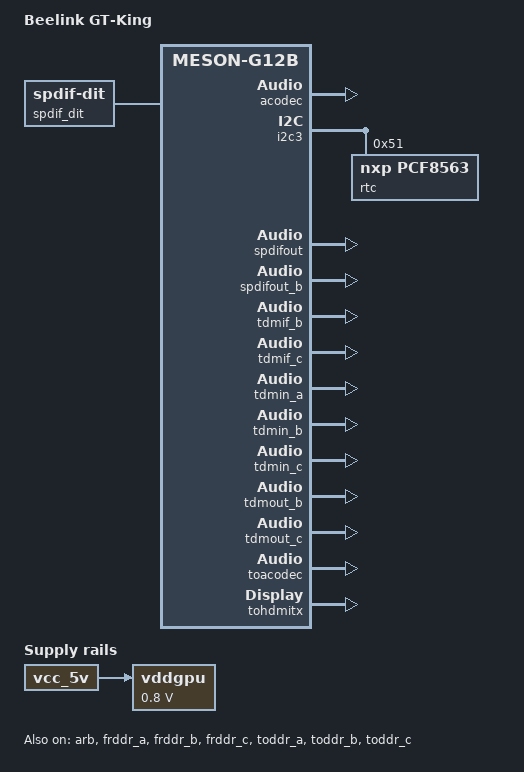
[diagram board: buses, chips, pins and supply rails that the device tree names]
// SPDX-License-Identifier: (GPL-2.0+ OR MIT)
/*
 * Copyright (c) 2019 BayLibre, SAS
 * Author: Neil Armstrong <narmstrong@baylibre.com>
 * Copyright (c) 2019 Christian Hewitt <christianshewitt@gmail.com>
 */

/dts-v1/;

#include "meson-g12b-w400.dtsi"
#include <dt-bindings/sound/meson-g12a-toacodec.h>
#include <dt-bindings/sound/meson-g12a-tohdmitx.h>

/ {
	compatible = "azw,gtking", "amlogic,s922x", "amlogic,g12b";
	model = "Beelink GT-King";

	aliases {
		rtc0 = &rtc;
		rtc1 = &vrtc;
	};

	spdif_dit: audio-codec-1 {
		#sound-dai-cells = <0>;
		compatible = "linux,spdif-dit";
		status = "okay";
		sound-name-prefix = "DIT";
	};

	sound {
		compatible = "amlogic,axg-sound-card";
		model = "GTKING";
		audio-widgets = "Line", "Lineout";
		audio-aux-devs = <&tdmout_b>, <&tdmout_c>,
				 <&tdmin_a>, <&tdmin_b>, <&tdmin_c>;
		audio-routing = "TDMOUT_B IN 0", "FRDDR_A OUT 1",
				"TDMOUT_B IN 1", "FRDDR_B OUT 1",
				"TDMOUT_B IN 2", "FRDDR_C OUT 1",
				"TDM_B Playback", "TDMOUT_B OUT",
				"TDMOUT_C IN 0", "FRDDR_A OUT 2",
				"TDMOUT_C IN 1", "FRDDR_B OUT 2",
				"TDMOUT_C IN 2", "FRDDR_C OUT 2",
				"TDM_C Playback", "TDMOUT_C OUT",
				"TDMIN_A IN 4", "TDM_B Loopback",
				"TDMIN_B IN 4", "TDM_B Loopback",
				"TDMIN_C IN 4", "TDM_B Loopback",
				"TDMIN_A IN 5", "TDM_C Loopback",
				"TDMIN_B IN 5", "TDM_C Loopback",
				"TDMIN_C IN 5", "TDM_C Loopback",
				"TODDR_A IN 0", "TDMIN_A OUT",
				"TODDR_B IN 0", "TDMIN_A OUT",
				"TODDR_C IN 0", "TDMIN_A OUT",
				"TODDR_A IN 1", "TDMIN_B OUT",
				"TODDR_B IN 1", "TDMIN_B OUT",
				"TODDR_C IN 1", "TDMIN_B OUT",
				"TODDR_A IN 2", "TDMIN_C OUT",
				"TODDR_B IN 2", "TDMIN_C OUT",
				"TODDR_C IN 2", "TDMIN_C OUT",
				"SPDIFOUT IN 0", "FRDDR_A OUT 3",
				"SPDIFOUT IN 1", "FRDDR_B OUT 3",
				"SPDIFOUT IN 2", "FRDDR_C OUT 3",
				"Lineout", "ACODEC LOLP",
				"Lineout", "ACODEC LORP";

		assigned-clocks = <&clkc CLKID_MPLL2>,
				  <&clkc CLKID_MPLL0>,
				  <&clkc CLKID_MPLL1>;
		assigned-clock-parents = <0>, <0>, <0>;
		assigned-clock-rates = <294912000>,
				       <270950400>,
				       <393216000>;
		status = "okay";

		dai-link-0 {
			sound-dai = <&frddr_a>;
		};

		dai-link-1 {
			sound-dai = <&frddr_b>;
		};

		dai-link-2 {
			sound-dai = <&frddr_c>;
		};

		dai-link-3 {
			sound-dai = <&toddr_a>;
		};

		dai-link-4 {
			sound-dai = <&toddr_b>;
		};

		dai-link-5 {
			sound-dai = <&toddr_c>;
		};

		/* 8ch hdmi interface */
		dai-link-6 {
			sound-dai = <&tdmif_b>;
			dai-format = "i2s";
			dai-tdm-slot-tx-mask-0 = <1 1>;
			dai-tdm-slot-tx-mask-1 = <1 1>;
			dai-tdm-slot-tx-mask-2 = <1 1>;
			dai-tdm-slot-tx-mask-3 = <1 1>;
			mclk-fs = <256>;

			codec-0 {
				sound-dai = <&tohdmitx TOHDMITX_I2S_IN_B>;
			};

			codec-1 {
				sound-dai = <&toacodec TOACODEC_IN_B>;
			};
		};

		/* spdif hdmi or toslink interface */
		dai-link-7 {
			sound-dai = <&spdifout>;

			codec-0 {
				sound-dai = <&spdif_dit>;
			};

			codec-1 {
				sound-dai = <&tohdmitx TOHDMITX_SPDIF_IN_A>;
			};
		};

		/* spdif hdmi interface */
		dai-link-8 {
			sound-dai = <&spdifout_b>;

			codec {
				sound-dai = <&tohdmitx TOHDMITX_SPDIF_IN_B>;
			};
		};

		/* i2s jack output interface */
		dai-link-9 {
			sound-dai = <&tdmif_c>;
			dai-format = "i2s";
			dai-tdm-slot-tx-mask-0 = <1 1>;
			mclk-fs = <256>;

			codec-0 {
				sound-dai = <&tohdmitx TOHDMITX_I2S_IN_C>;
			};

			codec-1 {
				sound-dai = <&toacodec TOACODEC_IN_C>;
			};
		};

		/* hdmi glue */
		dai-link-10 {
			sound-dai = <&tohdmitx TOHDMITX_I2S_OUT>;

			codec {
				sound-dai = <&hdmi_tx>;
			};
		};

		/* acodec glue */
		dai-link-11 {
			sound-dai = <&toacodec TOACODEC_OUT>;

			codec {
				sound-dai = <&acodec>;
			};
		};
	};

        vddgpu: regulator-vddgpu {
                compatible = "regulator-fixed";
                regulator-name = "mali";
                regulator-min-microvolt = <800000>;
                regulator-max-microvolt = <800000>;
                vin-supply = <&vcc_5v>;
                regulator-boot-on;
                regulator-always-on;
        };
};

&mali {
        mali-supply=<&vddgpu>;
};

&acodec {
	AVDD-supply = <&vddao_1v8>;
	status = "okay";
};

&arb {
	status = "okay";
};

&clkc_audio {
	status = "okay";
};

&frddr_a {
	status = "okay";
};

&frddr_b {
	status = "okay";
};

&frddr_c {
	status = "okay";
};


&i2c3 {
	status = "okay";
	pinctrl-0 = <&i2c3_sda_a_pins>, <&i2c3_sck_a_pins>;
	pinctrl-names = "default";

	rtc: rtc@51 {
		compatible = "nxp,pcf8563";
		reg = <0x51>;
		wakeup-source;
	};
};

&spdifout {
	pinctrl-0 = <&spdif_out_h_pins>;
	pinctrl-names = "default";
	status = "okay";
};

&spdifout_b {
	status = "okay";
};

&tdmif_b {
	status = "okay";
};

&tdmif_c {
	status = "okay";
};

&tdmin_a {
	status = "okay";
};

&tdmin_b {
	status = "okay";
};

&tdmin_c {
	status = "okay";
};

&tdmout_b {
	status = "okay";
};

&tdmout_c {
	status = "okay";
};

&toacodec {
	status = "okay";
};

&toddr_a {
	status = "okay";
};

&toddr_b {
	status = "okay";
};

&toddr_c {
	status = "okay";
};

&tohdmitx {
	status = "okay";
};

/* SDIO */
&sd_emmc_a {
        //max-frequency = <200000000>;
        //sd-uhs-sdr104;
        max-frequency = <50000000>;
        sd-uhs-ddr50;
        //sd-uhs-sdr50;
        //max-frequency = <100000000>;
};

/* SD CARD */
&sd_emmc_b {
        cap-sd-highspeed;
        max-frequency = <50000000>;
};

/* EMMC */
&sd_emmc_c {
        mmc-hs200-1_8v;
        max-frequency = <200000000>;
};
 
&ethmac {
	snps,aal;
	snps,rxpbl = <0x8>;
	snps,txpbl = <0x8>;

	rx-fifo-depth = <4096>;
	tx-fifo-depth = <4096>;
};
